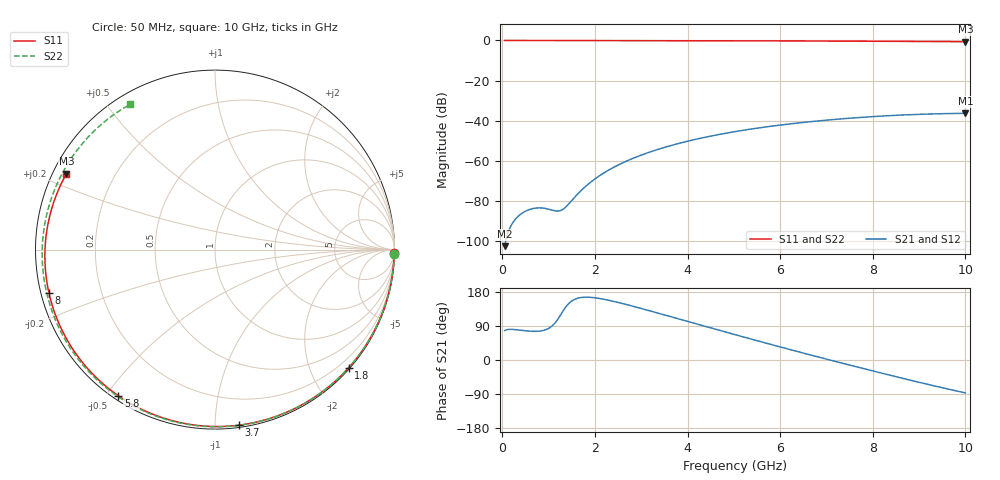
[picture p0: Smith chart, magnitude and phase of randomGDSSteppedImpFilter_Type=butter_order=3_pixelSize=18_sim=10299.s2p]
! freq	dB(S11)	phase(S11)	dB(S12)	phase(S12)
!  dB(S21)	phase(S21)	dB(S22)	phase(S22)
!S-par simulation data
#  GHz  S  DB  R 50
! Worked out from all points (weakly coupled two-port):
!   200 points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, 50 MHz to 10 GHz, reference 50 ohm
!   highest |S21| = -36.36 dB at 10 GHz (marker M1); lowest = -102.7 dB at 50 MHz (marker M2)
!   lowest |S11| = -0.6 dB at 10 GHz (marker M3), VSWR 27.35, Z = 1.93 + j12 ohm
!   |S11| at or under -10 dB: nowhere
!   |S22| runs from -0.6 to 0.0 dB; largest |S21 - S12| = 0
!   S11 on the Smith chart (normalised r, x): 50 MHz: open; 1.8 GHz: 0.02, -2.64; 3.7 GHz: 0.01, -1.15; 5.8 GHz: 0.02, -0.54; 8 GHz: 0.02, -0.13; 10 GHz: 0.04, +0.24
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0.05  -0.00 -1.1  -102.68 77.7  -102.68 77.7  -0.00 -1.5
0.4  -0.02 -9.4  -86.65 78.5  -86.65 78.5  -0.02 -12.2
0.75  -0.02 -17.5  -83.61 75.7  -83.61 75.7  -0.03 -22.9
1.1  -0.03 -25.6  -84.82 92.6  -84.82 92.6  -0.04 -33.3
1.5  -0.04 -34.7  -79.90 155.7  -79.90 155.7  -0.06 -45.0
1.75  -0.05 -40.4  -73.85 165.5  -73.85 165.5  -0.07 -52.2
1.8  -0.05 -41.5  -72.81 165.8  -72.81 165.8  -0.07 -53.6
2.1  -0.06 -48.2  -67.50 162.3  -67.50 162.3  -0.08 -62.0
2.45  -0.07 -55.8  -62.78 153.4  -62.78 153.4  -0.09 -71.5
2.9  -0.08 -65.5  -58.11 139.2  -58.11 139.2  -0.10 -83.3
3.4  -0.10 -76.0  -54.09 122.4  -54.09 122.4  -0.12 -95.9
3.7  -0.11 -82.2  -52.08 112.2  -52.08 112.2  -0.13 -103.1
4.35  -0.14 -95.3  -48.46 89.9  -48.46 89.9  -0.16 -118.3
5.05  -0.17 -109.1  -45.41 66.1  -45.41 66.1  -0.19 -133.9
5.8  -0.21 -123.4  -42.83 41.0  -42.83 41.0  -0.23 -150.0
6.25  -0.24 -131.9  -41.55 26.3  -41.55 26.3  -0.26 -159.4
6.7  -0.27 -140.4  -40.44 11.8  -40.44 11.8  -0.29 -168.7
7.35  -0.33 -152.8  -39.08 -8.8  -39.08 -8.8  -0.34 177.9
8  -0.39 -165.3  -38.01 -28.9  -38.01 -28.9  -0.39 164.3
8.35  -0.43 -172.2  -37.54 -39.6  -37.54 -39.6  -0.42 156.9
9.2  -0.53 170.5  -36.73 -64.7  -36.73 -64.7  -0.49 138.4
10  -0.64 153.0  -36.36 -86.9  -36.36 -86.9  -0.56 120.2
